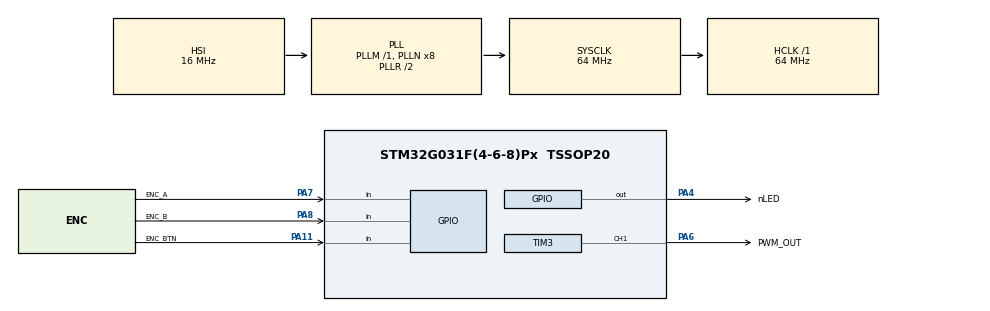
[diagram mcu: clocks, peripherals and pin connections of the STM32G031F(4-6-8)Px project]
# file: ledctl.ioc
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Mcu.Family=STM32G0
Mcu.Name=STM32G031F(4-6-8)Px
Mcu.Package=TSSOP20
NVIC.TIM14_IRQn=true\:0\:0\:false\:false\:true\:true\:true
PA11\ [PA9].GPIO_Label=ENC_BTN
PA11\ [PA9].GPIO_PuPd=GPIO_PULLUP
PA11\ [PA9].Signal=GPIO_Input
PA13.Mode=Serial_Wire
PA13.Signal=SYS_SWDIO
PA14-BOOT0.Mode=Serial_Wire
PA14-BOOT0.Signal=SYS_SWCLK
PA4.GPIO_Label=nLED
PA4.GPIO_ModeDefaultOutputPP=GPIO_MODE_OUTPUT_OD
PA4.PinState=GPIO_PIN_SET
PA4.Signal=GPIO_Output
PA6.GPIO_Label=PWM_OUT
PA6.Signal=S_TIM3_CH1
PA7.GPIO_Label=ENC_A
PA7.GPIO_PuPd=GPIO_PULLUP
PA7.Signal=GPIO_Input
PA8.GPIO_Label=ENC_B
PA8.GPIO_PuPd=GPIO_PULLUP
PA8.Signal=GPIO_Input
ProjectManager.HeapSize=0x200
ProjectManager.StackSize=0x400
ProjectManager.TargetToolchain=EWARM V8.32
RCC.ADCFreq_Value=64000000
RCC.AHBFreq_Value=64000000
RCC.CortexFreq_Value=64000000
RCC.EXTERNAL_CLOCK_VALUE=12288000
RCC.HCLKFreq_Value=64000000
RCC.HSE_VALUE=8000000
RCC.HSI_VALUE=16000000
RCC.LSE_VALUE=32768
RCC.SYSCLKFreq_VALUE=64000000
RCC.SYSCLKSource=RCC_SYSCLKSOURCE_PLLCLK
RCC.VCOOutputFreq_Value=128000000
SH.S_TIM3_CH1.0=TIM3_CH1,PWM Generation1 CH1
TIM14.Period=499
TIM14.Prescaler=63
TIM3.Channel-PWM\ Generation1\ CH1=TIM_CHANNEL_1
TIM3.Period=255
TIM3.Prescaler=15
TIM3.Pulse-PWM\ Generation1\ CH1=0
VP_TIM14_VS_ClockSourceINT.Mode=Enable_Timer
board=custom

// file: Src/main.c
/* USER CODE BEGIN Header */
/**
  ******************************************************************************
  * @file           : main.c
  * @brief          : Main program body
  ******************************************************************************
  * @attention
  *
  * <h2><center>&copy; Copyright (c) 2024 STMicroelectronics.
  * All rights reserved.</center></h2>
  *
  * This software component is licensed by ST under BSD 3-Clause license,
  * the "License"; You may not use this file except in compliance with the
  * License. You may obtain a copy of the License at:
  *                        opensource.org/licenses/BSD-3-Clause
  *
  ******************************************************************************
  */
/* USER CODE END Header */

#include "main.h"

/* USER CODE BEGIN Includes */
#include <intrinsics.h>
#include <stdbool.h>
#include "debug.h"
#include "util.h"
#include "controller.h"
/* USER CODE END Includes */

TIM_HandleTypeDef htim3;
TIM_HandleTypeDef htim14;

void SystemClock_Config(void);
static void MX_GPIO_Init(void);
static void MX_TIM3_Init(void);
static void MX_TIM14_Init(void);

/* USER CODE BEGIN 0 */
static inline void do_idle(void)
{
  __WFI();
}
/* USER CODE END 0 */

int main(void)
{

  /* MCU Configuration--------------------------------------------------------*/

  /* Reset of all peripherals, Initializes the Flash interface and the Systick. */
  HAL_Init();

  /* Configure the system clock */
  SystemClock_Config();

  /* Initialize all configured peripherals */
  MX_GPIO_Init();
  MX_TIM3_Init();
  MX_TIM14_Init();
  /* USER CODE BEGIN 2 */
  ctl_init();
  /* USER CODE END 2 */

  /* Infinite loop */
  while (1)
  {

    /* USER CODE BEGIN 3 */
    ctl_run();
    do_idle();
  }
  /* USER CODE END 3 */
}

void SystemClock_Config(void)
{
  RCC_OscInitTypeDef RCC_OscInitStruct = {0};
  RCC_ClkInitTypeDef RCC_ClkInitStruct = {0};

  /** Configure the main internal regulator output voltage
  */
  HAL_PWREx_ControlVoltageScaling(PWR_REGULATOR_VOLTAGE_SCALE1);
  /** Initializes the CPU, AHB and APB busses clocks
  */
  RCC_OscInitStruct.OscillatorType = RCC_OSCILLATORTYPE_HSI;
  RCC_OscInitStruct.HSIState = RCC_HSI_ON;
  RCC_OscInitStruct.HSIDiv = RCC_HSI_DIV1;
  RCC_OscInitStruct.HSICalibrationValue = RCC_HSICALIBRATION_DEFAULT;
  RCC_OscInitStruct.PLL.PLLState = RCC_PLL_ON;
  RCC_OscInitStruct.PLL.PLLSource = RCC_PLLSOURCE_HSI;
  RCC_OscInitStruct.PLL.PLLM = RCC_PLLM_DIV1;
  RCC_OscInitStruct.PLL.PLLN = 8;
  RCC_OscInitStruct.PLL.PLLP = RCC_PLLP_DIV2;
  RCC_OscInitStruct.PLL.PLLQ = RCC_PLLQ_DIV2;
  RCC_OscInitStruct.PLL.PLLR = RCC_PLLR_DIV2;
  if (HAL_RCC_OscConfig(&RCC_OscInitStruct) != HAL_OK)
  {
    Error_Handler();
  }
  /** Initializes the CPU, AHB and APB busses clocks
  */
  RCC_ClkInitStruct.ClockType = RCC_CLOCKTYPE_HCLK|RCC_CLOCKTYPE_SYSCLK
                              |RCC_CLOCKTYPE_PCLK1;
  RCC_ClkInitStruct.SYSCLKSource = RCC_SYSCLKSOURCE_PLLCLK;
  RCC_ClkInitStruct.AHBCLKDivider = RCC_SYSCLK_DIV1;
  RCC_ClkInitStruct.APB1CLKDivider = RCC_HCLK_DIV1;

  if (HAL_RCC_ClockConfig(&RCC_ClkInitStruct, FLASH_LATENCY_2) != HAL_OK)
  {
    Error_Handler();
  }
}

static void MX_TIM3_Init(void)
{

  TIM_MasterConfigTypeDef sMasterConfig = {0};
  TIM_OC_InitTypeDef sConfigOC = {0};

  htim3.Instance = TIM3;
  htim3.Init.Prescaler = 15;
  htim3.Init.CounterMode = TIM_COUNTERMODE_UP;
  htim3.Init.Period = 255;
  htim3.Init.ClockDivision = TIM_CLOCKDIVISION_DIV1;
  htim3.Init.AutoReloadPreload = TIM_AUTORELOAD_PRELOAD_DISABLE;
  if (HAL_TIM_PWM_Init(&htim3) != HAL_OK)
  {
    Error_Handler();
  }
  sMasterConfig.MasterOutputTrigger = TIM_TRGO_RESET;
  sMasterConfig.MasterSlaveMode = TIM_MASTERSLAVEMODE_DISABLE;
  if (HAL_TIMEx_MasterConfigSynchronization(&htim3, &sMasterConfig) != HAL_OK)
  {
    Error_Handler();
  }
  sConfigOC.OCMode = TIM_OCMODE_PWM1;
  sConfigOC.Pulse = 0;
  sConfigOC.OCPolarity = TIM_OCPOLARITY_HIGH;
  sConfigOC.OCFastMode = TIM_OCFAST_DISABLE;
  if (HAL_TIM_PWM_ConfigChannel(&htim3, &sConfigOC, TIM_CHANNEL_1) != HAL_OK)
  {
    Error_Handler();
  }
  HAL_TIM_MspPostInit(&htim3);

}

static void MX_TIM14_Init(void)
{

  htim14.Instance = TIM14;
  htim14.Init.Prescaler = 63;
  htim14.Init.CounterMode = TIM_COUNTERMODE_UP;
  htim14.Init.Period = 499;
  htim14.Init.ClockDivision = TIM_CLOCKDIVISION_DIV1;
  htim14.Init.AutoReloadPreload = TIM_AUTORELOAD_PRELOAD_DISABLE;
  if (HAL_TIM_Base_Init(&htim14) != HAL_OK)
  {
    Error_Handler();
  }

}

static void MX_GPIO_Init(void)
{
  GPIO_InitTypeDef GPIO_InitStruct = {0};

  /* GPIO Ports Clock Enable */
  __HAL_RCC_GPIOB_CLK_ENABLE();
  __HAL_RCC_GPIOC_CLK_ENABLE();
  __HAL_RCC_GPIOF_CLK_ENABLE();
  __HAL_RCC_GPIOA_CLK_ENABLE();

  /*Configure GPIO pin Output Level */
  HAL_GPIO_WritePin(nLED_GPIO_Port, nLED_Pin, GPIO_PIN_SET);

  /*Configure GPIO pins : PB7 PB8 PB9 PB0
                           PB1 PB2 PB3 PB4
                           PB5 PB6 */
  GPIO_InitStruct.Pin = GPIO_PIN_7|GPIO_PIN_8|GPIO_PIN_9|GPIO_PIN_0
                          |GPIO_PIN_1|GPIO_PIN_2|GPIO_PIN_3|GPIO_PIN_4
                          |GPIO_PIN_5|GPIO_PIN_6;
  GPIO_InitStruct.Mode = GPIO_MODE_ANALOG;
  GPIO_InitStruct.Pull = GPIO_NOPULL;
  HAL_GPIO_Init(GPIOB, &GPIO_InitStruct);

  /*Configure GPIO pins : PC14 PC15 */
  GPIO_InitStruct.Pin = GPIO_PIN_14|GPIO_PIN_15;
  GPIO_InitStruct.Mode = GPIO_MODE_ANALOG;
  GPIO_InitStruct.Pull = GPIO_NOPULL;
  HAL_GPIO_Init(GPIOC, &GPIO_InitStruct);

  /*Configure GPIO pin : PF2 */
  GPIO_InitStruct.Pin = GPIO_PIN_2;
  GPIO_InitStruct.Mode = GPIO_MODE_ANALOG;
  GPIO_InitStruct.Pull = GPIO_NOPULL;
  HAL_GPIO_Init(GPIOF, &GPIO_InitStruct);

  /*Configure GPIO pins : PA0 PA1 PA2 PA3
                           PA5 PA12 PA15 */
  GPIO_InitStruct.Pin = GPIO_PIN_0|GPIO_PIN_1|GPIO_PIN_2|GPIO_PIN_3
                          |GPIO_PIN_5|GPIO_PIN_12|GPIO_PIN_15;
  GPIO_InitStruct.Mode = GPIO_MODE_ANALOG;
  GPIO_InitStruct.Pull = GPIO_NOPULL;
  HAL_GPIO_Init(GPIOA, &GPIO_InitStruct);

  /*Configure GPIO pin : nLED_Pin */
  GPIO_InitStruct.Pin = nLED_Pin;
  GPIO_InitStruct.Mode = GPIO_MODE_OUTPUT_OD;
  GPIO_InitStruct.Pull = GPIO_NOPULL;
  GPIO_InitStruct.Speed = GPIO_SPEED_FREQ_LOW;
  HAL_GPIO_Init(nLED_GPIO_Port, &GPIO_InitStruct);

  /*Configure GPIO pins : ENC_A_Pin ENC_B_Pin ENC_BTN_Pin */
  GPIO_InitStruct.Pin = ENC_A_Pin|ENC_B_Pin|ENC_BTN_Pin;
  GPIO_InitStruct.Mode = GPIO_MODE_INPUT;
  GPIO_InitStruct.Pull = GPIO_PULLUP;
  HAL_GPIO_Init(GPIOA, &GPIO_InitStruct);

}

/* USER CODE BEGIN 4 */
void assertion_failed(const char* file, unsigned line)
{
  bool on = false;
  for (;;) {
    WRITE_PIN(nLED, on);
    on = !on;
    for (int i = 0; i < 2000000; ++i)
      __no_operation();
  }
}
/* USER CODE END 4 */

void Error_Handler(void)
{
  /* USER CODE BEGIN Error_Handler_Debug */
  /* User can add his own implementation to report the HAL error return state */
  BUG();
  /* USER CODE END Error_Handler_Debug */
}

#ifdef  USE_FULL_ASSERT
/**
  * @brief  Reports the name of the source file and the source line number
  *         where the assert_param error has occurred.
  * @param  file: pointer to the source file name
  * @param  line: assert_param error line source number
  * @retval None
  */
void assert_failed(uint8_t *file, uint32_t line)
{
  /* USER CODE BEGIN 6 */
  /* User can add his own implementation to report the file name and line number,
     tex: printf("Wrong parameters value: file %s on line %d\r\n", file, line) */
  assertion_failed((const char*)file, line);
  /* USER CODE END 6 */
}
#endif /* USE_FULL_ASSERT */

/************************ (C) COPYRIGHT STMicroelectronics *****END OF FILE****/
